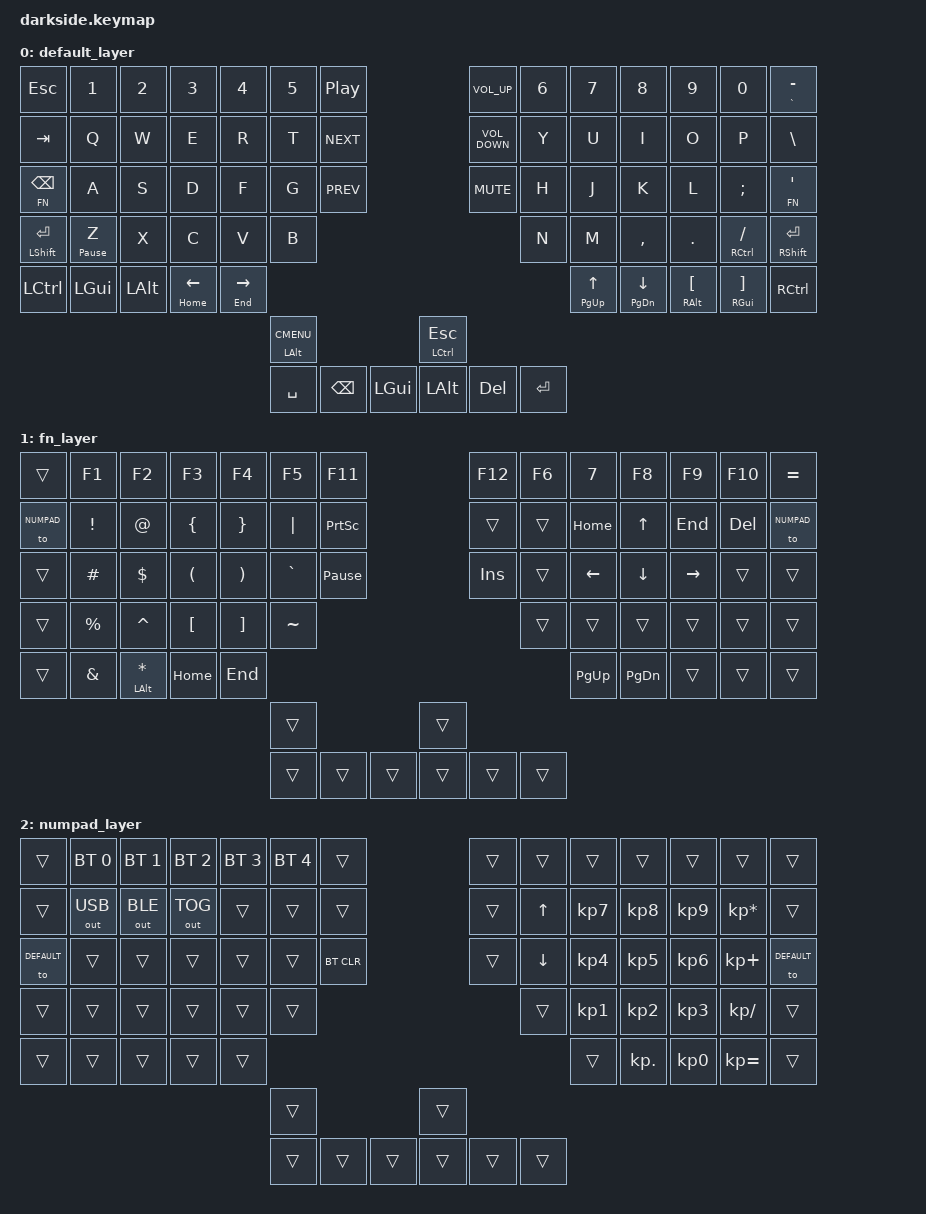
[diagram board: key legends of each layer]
/*
 * Copyright (c) 2020 The ZMK Contrwi7876butors
 *
 * SPDX-License-Identifier: MIT
 */

#include <behaviors.dtsi>
#include <dt-bindings/zmk/keys.h>
#include <dt-bindings/zmk/bt.h>
#include <dt-bindings/zmk/outputs.h>

#define DEFAULT	0
#define FN   1
#define NUMPAD	2

/ {
    behaviors {
        hota: hold-tap {
            compatible = "zmk,behavior-hold-tap";
            label = "HOLD-TAP";
            #binding-cells = <2>;
            tapping-term-ms = <300>;
            quick-tap-ms = <300>;
            flavor = "tap-preferred";
            bindings = <&kp>, <&kp>;
        };
    };



    keymap {
        compatible = "zmk,keymap";

// | SW1  | SW1  | SW1  | SW1  | SW1  | SW1  | SW1  |																 | SW1  | SW1  | SW1  | SW1  | SW1  | SW1  | SW1  |
// | SW1  | SW1  | SW1  | SW1  | SW1  | SW1  | SW1  |	 															 | SW1  | SW1  | SW1  | SW1  | SW1  | SW1  | SW1  |
// | SW1  | SW1  | SW1  | SW1  | SW1  | SW1  | SW1  |	 															 | SW1  | SW1  | SW1  | SW1  | SW1  | SW1  | SW1  |
// | SW1  | SW1  | SW1  | SW1  | SW1  | SW1  |				 														 		| SW1  | SW1  | SW1  | SW1  | SW1  | SW1  |
// | SW1  | SW1  | SW1  | SW1  | SW1  |																			     			   | SW1  | SW1  | SW1  | SW1  | SW1  |
// 													| SW1  |											| SW1  |
// 													| SW1  | SW1  | SW1  |				  | SW1  | SW1  | SW1  |	

        default_layer {
            bindings = <
    &kp ESC			&kp N1					&kp N2			&kp N3			&kp N4		&kp N5		&kp C_PLAY_PAUSE																	&kp C_VOLUME_UP		&kp N6		&kp N7			&kp N8				&kp N9			&kp N0			&hota GRAVE MINUS
    &kp TAB			&kp Q					&kp W			&kp E			&kp R		&kp T		&kp C_NEXT																			&kp C_VOLUME_DOWN	&kp Y		&kp U			&kp I				&kp O			&kp P			&kp BSLH
    &lt FN BSPC		&kp A					&kp S			&kp D			&kp F		&kp G		&kp C_PREV																			&kp C_MUTE			&kp H		&kp J			&kp K				&kp L			&kp SEMI  		&lt FN APOS
    &mt LSHFT RET	&hota PAUSE_BREAK Z		&kp X			&kp C			&kp V		&kp B 	        																									&kp N		&kp M			&kp COMMA			&kp DOT			&mt RCTRL FSLH	&mt RSHFT RET
    &kp LCTRL 		&kp LGUI 				&kp LALT 		&hota HOME LEFT	&hota END RIGHT 																															&hota PG_UP UP 	&hota PG_DN DOWN 	&mt RALT LBKT  	&hota RGUI RBKT &kp RCTRL
																							&mt LALT K_CMENU										&mt LCTRL ESC
																							&kp SPACE	&kp BSPC &kp LGUI		&kp LALT 	&kp DEL		&kp RET
            >;
        };


        fn_layer {
            bindings = <
    &trans	&kp F1			&kp F2			&kp F3			&kp F4		&kp F5		&kp F11																		&kp F12		&kp F6		&kp N7			&kp F8			&kp F9		&kp F10		&kp EQUAL
    &to NUMPAD		&kp EXCL	  			&kp AT		 	&kp LBRC		&kp RBRC	&kp PIPE	&kp PRINTSCREEN																&trans		&trans		&kp HOME		&kp UP			&kp END		&kp DEL		&to NUMPAD
    &trans			&kp HASH				&kp DOLLAR		&kp LPAR		&kp RPAR	&kp GRAVE	&kp PAUSE_BREAK																&kp INS		&trans		&kp LEFT		&kp DOWN		&kp RIGHT	&trans  	&trans
    &trans 			&kp PRCNT				&kp CARET		&kp LBKT		&kp RBKT	&kp TILDE      	   																					&trans		&trans			&trans			&trans		&trans  	&trans
    &trans 			&kp AMPS				&mt LALT ASTRK	&kp HOME 		&kp END 																													&kp PG_UP  		&kp PG_DN 		&trans  	&trans  	&trans
																									&trans			 											&trans
																									&trans		&trans	&trans			&trans 		&trans		&trans
            >;
        };
		
        numpad_layer {
            bindings = <
    &trans			&bt BT_SEL 0 			&bt BT_SEL 1 	&bt BT_SEL 2	&bt BT_SEL 3	&bt BT_SEL 4	&trans																		&trans		&trans		&trans			&trans			&trans		&trans			&trans
    &trans			&out OUT_USB			&out OUT_BLE	&out OUT_TOG	&trans			&trans			&trans																		&trans		&kp UP		&kp KP_N7		&kp KP_N8		&kp KP_N9	&kp KP_MULTIPLY	&trans
    &to DEFAULT		&trans					&trans			&trans			&trans			&trans			&bt BT_CLR																	&trans		&kp DOWN	&kp KP_N4		&kp KP_N5		&kp KP_N6	&kp KP_PLUS		&to DEFAULT
    &trans 			&trans					&trans			&trans			&trans			&trans      	   																						&trans		&kp KP_N1		&kp KP_N2		&kp KP_N3	&kp KP_DIVIDE	&trans
    &trans 			&trans 					&trans 			&trans 			&trans																																&trans 			&kp KP_DOT		&kp KP_N0	&kp KP_EQUAL	&trans
																									&trans														&trans
																									&trans		&trans	&trans			&trans 		&trans		&trans
            >;
        };
    };
};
